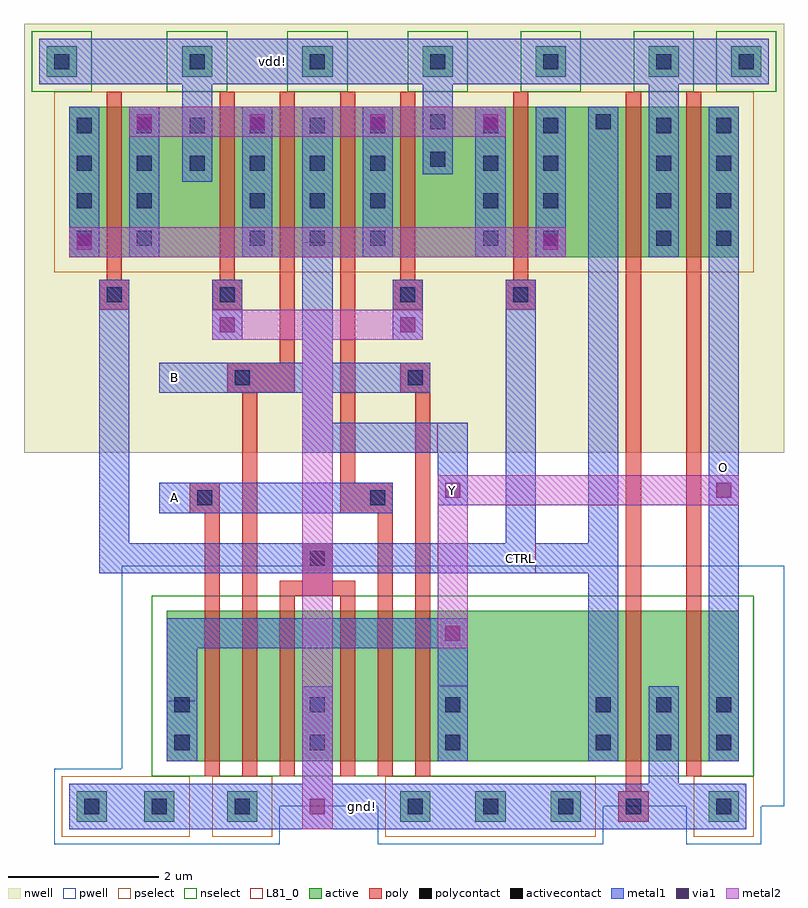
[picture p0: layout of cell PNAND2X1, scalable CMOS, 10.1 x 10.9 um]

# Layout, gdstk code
import gdstk
lib = gdstk.Library(unit=1e-6, precision=1e-09)
def R(c, l, rs):  # rectangles x0, y0, x1, y1
    for r in rs: c.add(gdstk.rectangle(r[:2], r[2:], *l))
def A(c, l, x, y, w, h, nx, ny, dx, dy):  # array of equal rectangles
    R(c, l, [(x+i*dx, y+j*dy, x+i*dx+w, y+j*dy+h) for i in range(nx) for j in range(ny)])
pwell = (41, 0)
nwell = (42, 0)
active = (43, 0)
pselect = (44, 0)
nselect = (45, 0)
poly = (46, 0)
polycontact = (47, 0)
activecontact = (48, 0)
metal1 = (49, 0)
via1 = (50, 0)
metal2 = (51, 0)
L81_0 = (81, 0)

pnand2x1 = lib.new_cell('PNAND2X1')
R(pnand2x1, pwell, [(-6.1,11.3,-3.1,11.8), (-1.8,11.3,1.2,11.8), (2.3,11.3,3.3,11.8), (-6.1,11.8,3.6,12.3), (-5.2,12.3,3.6,15)])
R(pnand2x1, nwell, [(-6.5,16.5,3.6,22.2)])
A(pnand2x1, active, -1.5, 11.6, 0.4, 0.4, 3, 1, 1, 0)
A(pnand2x1, active, -4.4, 21.5, 0.4, 0.4, 3, 1, 1.6, 0)
R(pnand2x1, active, [(-5.8,11.6,-5.4,12), (-4.9,11.6,-4.5,12), (-3.8,11.6,-3.4,12), (2.6,11.6,3,12), (-4.6,12.4,3,14.4), (-5.9,19.1,3,21.1), (-6.2,21.5,-5.8,21.9), (0.3,21.5,0.7,21.9), (1.8,21.5,2.2,21.9), (2.9,21.5,3.3,21.9)])
R(pnand2x1, pselect, [(-6,11.4,-4.3,12.2), (-4,11.4,-3.2,12.2), (-1.7,11.4,1.1,12.2), (2.4,11.4,3.2,12.2), (-6.1,18.9,3.2,21.3)])
A(pnand2x1, nselect, -4.6, 21.3, 0.8, 0.8, 3, 1, 1.6, 0)
R(pnand2x1, nselect, [(-4.8,12.2,3.2,14.6), (-6.4,21.3,-5.6,22.1), (0.1,21.3,0.9,22.1), (1.6,21.3,2.4,22.1), (2.7,21.3,3.5,22.1)])
R(pnand2x1, poly, [(1.4,11.6,1.8,12), (1.5,12,1.7,21.3), (-4.1,12.2,-3.9,15.7), (-3.6,12.2,-3.4,17.3), (-3.1,12.2,-2.9,14.6), (-2.3,12.2,-2.1,14.6), (-1.8,12.2,-1.6,15.7), (-1.3,12.2,-1.1,17.3), (2.3,12.2,2.5,21.3), (-3.1,14.6,-2.1,14.8), (-2.8,14.8,-2.4,15.3), (-4.3,15.7,-3.9,16.1), (-2.3,15.7,-1.6,16.1), (-2.3,16.1,-2.1,21.3), (-3.8,17.3,-2.9,17.7), (-1.5,17.3,-1.1,17.7), (-3.1,17.7,-2.9,21.3), (-5.5,18.4,-5.1,18.8), (-4,18.4,-3.6,18.8), (-1.6,18.4,-1.2,18.8), (-0.1,18.4,0.3,18.8), (-5.4,18.8,-5.2,21.3), (-3.9,18.8,-3.7,21.3), (-1.5,18.8,-1.3,21.3), (0,18.8,0.2,21.3)])
R(pnand2x1, polycontact, [(1.5,11.7,1.7,11.9), (-2.7,15,-2.5,15.2), (-4.2,15.8,-4,16), (-1.9,15.8,-1.7,16), (-3.7,17.4,-3.5,17.6), (-1.4,17.4,-1.2,17.6), (-5.4,18.5,-5.2,18.7), (-3.9,18.5,-3.7,18.7), (-1.5,18.5,-1.3,18.7), (0,18.5,0.2,18.7)])
A(pnand2x1, activecontact, -1.4, 11.7, 0.2, 0.2, 3, 1, 1, 0)
A(pnand2x1, activecontact, -4.5, 12.55, 0.2, 0.2, 3, 2, 1.8, 0.5)
A(pnand2x1, activecontact, 1.1, 12.55, 0.2, 0.2, 3, 2, 0.8, 0.5)
A(pnand2x1, activecontact, -5.8, 19.25, 0.2, 0.2, 1, 4, 0, 0.5)
A(pnand2x1, activecontact, -5, 19.25, 0.2, 0.2, 1, 4, 0, 0.5)
A(pnand2x1, activecontact, -3.5, 19.25, 0.2, 0.2, 3, 2, 0.8, 0.5)
A(pnand2x1, activecontact, -0.4, 19.25, 0.2, 0.2, 1, 4, 0, 0.5)
A(pnand2x1, activecontact, 0.4, 19.25, 0.2, 0.2, 1, 4, 0, 0.5)
A(pnand2x1, activecontact, 1.9, 19.25, 0.2, 0.2, 1, 4, 0, 0.5)
A(pnand2x1, activecontact, 2.7, 19.25, 0.2, 0.2, 1, 4, 0, 0.5)
A(pnand2x1, activecontact, -4.3, 20.25, 0.2, 0.2, 4, 2, 0.8, 0.5)
A(pnand2x1, activecontact, -4.3, 21.6, 0.2, 0.2, 3, 1, 1.6, 0)
R(pnand2x1, activecontact, [(-5.7,11.7,-5.5,11.9), (-4.8,11.7,-4.6,11.9), (-3.7,11.7,-3.5,11.9), (2.7,11.7,2.9,11.9), (-1.1,20.3,-0.9,20.5), (-1.1,20.8,-0.9,21), (1.1,20.8,1.3,21), (-6.1,21.6,-5.9,21.8), (0.4,21.6,0.6,21.8), (1.9,21.6,2.1,21.8), (3,21.6,3.2,21.8)])
R(pnand2x1, metal1, [(-5.9,11.5,3.1,12.1), (-2.8,12.1,-2.4,13.4), (1.8,12.1,2.2,13.4), (-4.6,12.4,-4.2,13.9), (-1,12.4,-0.6,13.9), (1,12.4,1.4,14.9), (2.6,12.4,3,21.1), (-4.6,13.9,-0.6,14.3), (-5.5,14.9,1.4,15.3), (-5.5,15.3,-5.1,18.8), (-0.1,15.3,0.3,18.8), (1,15.3,1.4,21.1), (-4.7,15.7,-1.6,16.1), (-1,15.8,-0.6,16.5), (-2.8,16.5,-0.6,16.9), (-2.8,16.9,-2.4,17.3), (-4.7,17.3,-1.1,17.7), (-2.8,17.7,-2.4,21.1), (-4,18,-3.6,18.8), (-1.6,18,-1.2,18.8), (-5.9,19.1,-5.5,21.1), (-5.1,19.1,-4.7,21.1), (-3.6,19.1,-3.2,21.1), (-2,19.1,-1.6,21.1), (-0.5,19.1,-0.1,21.1), (0.3,19.1,0.7,21.1), (1.8,19.1,2.2,21.4), (-4.4,20.1,-4,21.4), (-1.2,20.2,-0.8,21.4), (-6.3,21.4,3.4,22)])
R(pnand2x1, via1, [(-2.7,11.7,-2.5,11.9), (-0.9,14,-0.7,14.2), (-0.9,15.9,-0.7,16.1), (2.7,15.9,2.9,16.1), (-3.9,18.1,-3.7,18.3), (-1.5,18.1,-1.3,18.3), (-5.8,19.2,-5.6,19.4), (0.4,19.2,0.6,19.4), (-5,20.8,-4.8,21), (-3.5,20.8,-3.3,21), (-1.9,20.8,-1.7,21), (-0.4,20.8,-0.2,21)])
R(pnand2x1, metal2, [(-2.8,11.5,-2.4,18), (-1,13.9,-0.6,15.8), (-1,15.8,3,16.2), (-4,18,-1.2,18.4), (-5.9,19.1,0.7,19.5), (-5.1,20.7,-0.1,21.1)])
R(pnand2x1, L81_0, [(1.4,11.6,1.8,12), (-4.6,13.2,-4.2,13.9), (-1,13.4,-0.6,13.9), (-4.6,13.9,-0.6,14.3), (-5.5,14.9,0.3,15.3), (-5.5,15.3,-5.1,18.8), (-0.1,15.3,0.3,18.8), (-4.7,15.7,-1.6,16.1), (-2.8,16.5,-1,16.9), (-2.8,16.9,-2.4,17.3), (-4.7,17.3,-1.1,17.7), (-2.8,17.7,-2.4,19.3)])
pnand2x1.add(gdstk.Label('B', (-4.5,17.5), layer=49, texttype=0))
pnand2x1.add(gdstk.Label('A', (-4.5,15.9), layer=49, texttype=0))
pnand2x1.add(gdstk.Label('CTRL', (0.1,15.1), layer=49, texttype=0))
pnand2x1.add(gdstk.Label('Y', (-0.8,16), layer=51, texttype=0))
pnand2x1.add(gdstk.Label('O', (2.8,16.3), layer=49, texttype=0))
pnand2x1.add(gdstk.Label('vdd!', (-3.2,21.7), layer=49, texttype=0))
pnand2x1.add(gdstk.Label('gnd!', (-2,11.8), layer=49, texttype=0))

lib.write_gds('PNAND2X1.gds')
